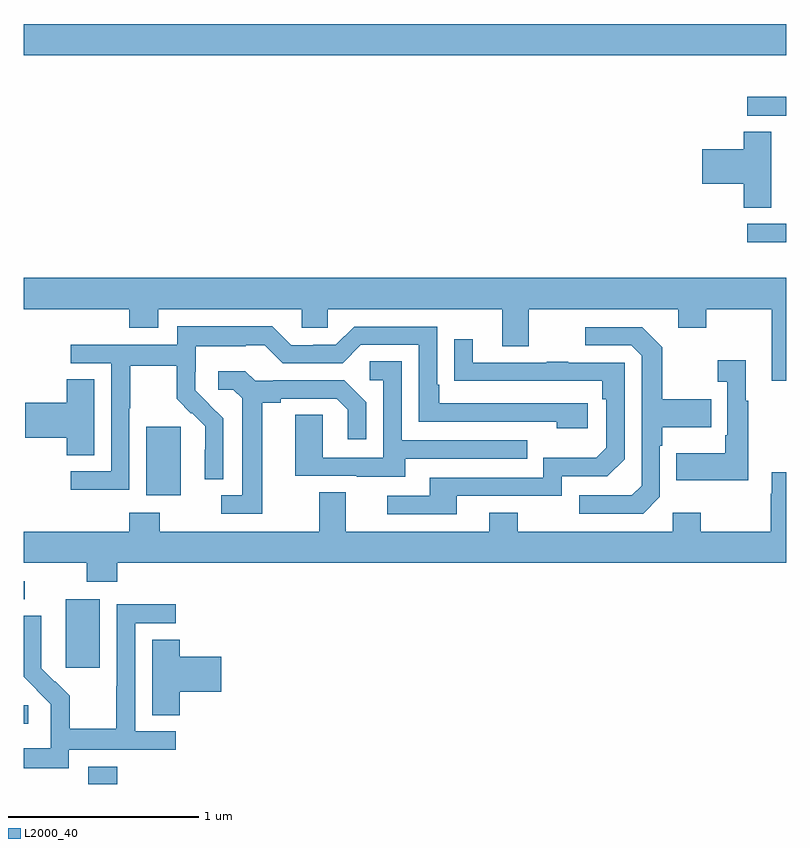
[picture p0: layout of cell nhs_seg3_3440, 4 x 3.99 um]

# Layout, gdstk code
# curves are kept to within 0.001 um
import gdstk
lib = gdstk.Library(unit=1e-6, precision=1e-09)
def R(c, l, rs):  # rectangles x0, y0, x1, y1
    for r in rs: c.add(gdstk.rectangle(r[:2], r[2:], *l))
def P(c, l, *ps):  # polygons
    for p in ps: c.add(gdstk.Polygon(p, *l))
L2000_40 = (2000, 40)

nhs_seg3_3440 = lib.new_cell('nhs_seg3_3440')
R(nhs_seg3_3440, L2000_40, [(289.337,722.4,289.49,722.491), (289,722.717,289.024,722.814), (289.22,723.009,289.399,723.37), (289,723.369,289.006,723.465), (289.643,723.914,289.822,724.275), (292.797,725.244,293,725.34), (292.797,725.907,293,726.006), (289,726.224,293,726.388)])
P(nhs_seg3_3440, L2000_40, [(292.921,725.822),(292.778,725.822),(292.778,725.732),(292.56,725.732),(292.56,725.549),(292.778,725.549),(292.778,725.425),(292.921,725.425)],
  [(293,725.056),(289,725.056),(289,724.892),(289.553,724.892),(289.553,724.793),(289.705,724.793),(289.705,724.892),(290.457,724.892),(290.457,724.794),(290.595,724.794),(290.595,724.892),(291.509,724.892),(291.509,724.698),(291.649,724.698),(291.649,724.892),(292.433,724.892),(292.433,724.793),(292.581,724.793),(292.581,724.892),(292.925,724.892),(292.925,724.515),(293,724.515)],
  [(289.554,724.372),(289.557,724.372),(289.557,724.596),(289.801,724.596),(289.801,724.421),(289.878,724.344),(289.881,724.347),(289.952,724.277),(289.952,724.154),(289.95,724.154),(289.95,724),(290.046,724),(290.046,724.318),(289.9,724.466),(289.9,724.563),(289.902,724.563),(289.902,724.697),(290.165,724.697),(290.165,724.701),(290.265,724.701),(290.358,724.608),(290.673,724.608),(290.769,724.704),(291.072,724.704),(291.072,724.302),(291.797,724.302),(291.797,724.268),(291.958,724.268),(291.958,724.398),(291.181,724.398),(291.181,724.495),(291.168,724.495),(291.168,724.8),(290.733,724.8),(290.637,724.704),(290.519,724.704),(290.519,724.701),(290.403,724.701),(290.303,724.801),(289.806,724.801),(289.806,724.704),(289.245,724.704),(289.245,724.608),(289.458,724.608),(289.458,724.041),(289.245,724.041),(289.245,723.943),(289.554,723.943)],
  [(292.338,723.906),(292.338,724.175),(292.351,724.175),(292.351,724.271),(292.607,724.271),(292.607,724.419),(292.351,724.419),(292.351,724.691),(292.245,724.797),(291.945,724.797),(291.945,724.701),(292.188,724.701),(292.242,724.647),(292.242,723.966),(292.191,723.915),(291.915,723.915),(291.915,723.819),(292.251,723.819)],
  [(291.271,723.912),(291.822,723.912),(291.822,724.014),(292.062,724.014),(292.152,724.104),(292.152,724.611),(291.857,724.611),(291.857,724.616),(291.745,724.616),(291.745,724.611),(291.355,724.611),(291.355,724.735),(291.259,724.735),(291.259,724.516),(292.036,724.515),(292.036,724.418),(292.056,724.418),(292.056,724.164),(292.003,724.111),(291.726,724.111),(291.726,724.008),(291.131,724.008),(291.131,723.912),(290.907,723.912),(290.907,723.816),(291.271,723.816)],
  [(292.801,724.411),(292.789,724.411),(292.789,724.624),(292.641,724.624),(292.641,724.511),(292.692,724.511),(292.692,724.231),(292.68,724.231),(292.68,724.135),(292.423,724.135),(292.423,723.995),(292.801,723.995)],
  [(291.001,724.107),(291.641,724.107),(291.641,724.203),(290.982,724.203),(290.982,724.619),(290.814,724.619),(290.814,724.518),(290.886,724.518),(290.886,724.113),(290.568,724.113),(290.568,724.337),(290.423,724.337),(290.423,724.017),(290.747,724.017),(290.747,724.013),(291.001,724.013)],
  [(290.251,724.4),(290.347,724.4),(290.347,724.422),(290.642,724.422),(290.699,724.365),(290.699,724.209),(290.796,724.209),(290.796,724.402),(290.68,724.518),(290.308,724.518),(290.308,724.515),(290.214,724.515),(290.162,724.567),(290.019,724.567),(290.019,724.47),(290.1,724.47),(290.147,724.423),(290.147,723.915),(290.037,723.915),(290.037,723.819),(290.251,723.819)],
  [(289.369,724.523),(289.226,724.523),(289.226,724.4),(289.008,724.4),(289.008,724.217),(289.226,724.217),(289.226,724.126),(289.369,724.126)],
  [(289.49,723.56),(293,723.56),(293,724.036),(292.925,724.036),(292.925,723.923),(292.918,723.923),(292.918,723.724),(292.551,723.724),(292.551,723.823),(292.404,723.823),(292.404,723.724),(291.591,723.724),(291.591,723.823),(291.443,723.823),(291.443,723.724),(290.689,723.724),(290.689,723.932),(290.549,723.932),(290.549,723.724),(289.713,723.724),(289.713,723.823),(289.553,723.823),(289.553,723.724),(289,723.724),(289,723.56),(289.33,723.56),(289.33,723.461),(289.49,723.461)],
  [(289.236,722.58),(289.798,722.58),(289.798,722.676),(289.584,722.676),(289.584,723.243),(289.798,723.243),(289.798,723.342),(289.488,723.342),(289.488,722.912),(289.486,722.912),(289.486,722.689),(289.241,722.689),(289.241,722.863),(289.164,722.94),(289.161,722.937),(289.091,723.008),(289.092,723.284),(289,723.284),(289,722.962),(289.142,722.818),(289.142,722.721),(289.14,722.721),(289.14,722.587),(289,722.587),(289,722.483),(289.236,722.483)],
  [(289.817,722.885),(290.035,722.885),(290.035,723.068),(289.817,723.068),(289.817,723.158),(289.673,723.158),(289.673,722.761),(289.817,722.761)])

lib.write_gds('nhs_seg3_3440.gds')
